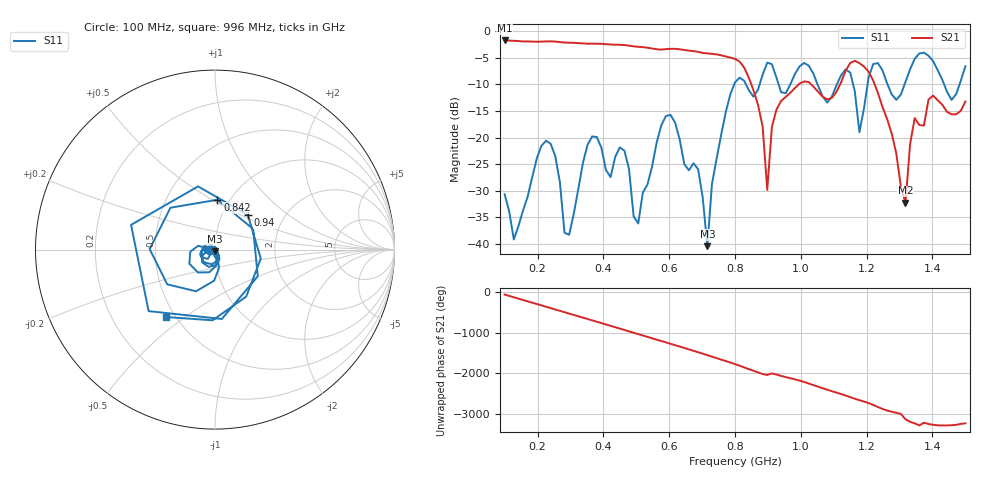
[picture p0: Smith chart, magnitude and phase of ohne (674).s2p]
! NanoVNA-App
! Date: 2025-09-25 14:26:03
! Start: 100MHz Stop: 1,5GHz Points: 101
! S-Parameter data: F S11 S21 S12 S22
# Hz S RI R 50
!  Frequency  S11_Real  S11_Imag  S21_Real  S21_Imag  S12_Real  S12_Imag  S22_Real  S22_Imag
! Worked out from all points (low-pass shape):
!   101 points, 100 MHz to 1.5 GHz, reference 50 ohm
!   highest |S21| = -1.79 dB at 100 MHz (marker M1); lowest = -32.2 dB at 1.318 GHz (marker M2)
!   |S21| within 3 dB of the highest: start of sweep to 771.8 MHz
!   lowest |S11| = -40.4 dB at 716 MHz (marker M3), VSWR 1.02, Z = 49.8 - j0.943 ohm
!   |S11| at or under -10 dB: start of sweep to 797.8 MHz; 833.1 MHz to 875.1 MHz (41.99 MHz wide, 4.92 % of centre); 1.051 GHz to 1.11 GHz (59.33 MHz wide, 5.49 % of centre) (the widest 3 of 7)
!   S12 and S22 are empty: the file has one direction only
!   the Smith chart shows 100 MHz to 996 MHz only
!   S11 on the Smith chart (normalised r, x): 100 MHz: 0.94, -0.01; 842 MHz: 0.88, +0.53; 940 MHz: 1.32, +0.55; 996 MHz: 0.45, -0.43
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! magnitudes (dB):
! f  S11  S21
! 100 MHz  -30.6  -1.8
! 128 MHz  -39.1  -1.9
! 226 MHz  -20.6  -2.0
! 296 MHz  -38.3  -2.2
! 338 MHz  -24.8  -2.3
! 464 MHz  -22.5  -2.7
! 506 MHz  -36.1  -3.0
! 576 MHz  -17.7  -3.5
! 688 MHz  -25.9  -3.9
! 716 MHz  -40.4  -4.2
! 800 MHz  -9.7  -5.3
! 842 MHz  -11.1  -8.8
! 898 MHz  -5.9  -29.8
! 940 MHz  -11.5  -13.1
! 996 MHz  -6.7  -9.9
! 1.038 GHz  -8.0  -10.4
! 1.178 GHz  -19.0  -6.0
! 1.22 GHz  -6.2  -9.3
! 1.276 GHz  -11.9  -19.2
! 1.318 GHz  -9.6  -32.2
! 1.346 GHz  -5.2  -16.4
! 1.5 GHz  -6.6  -13.2
